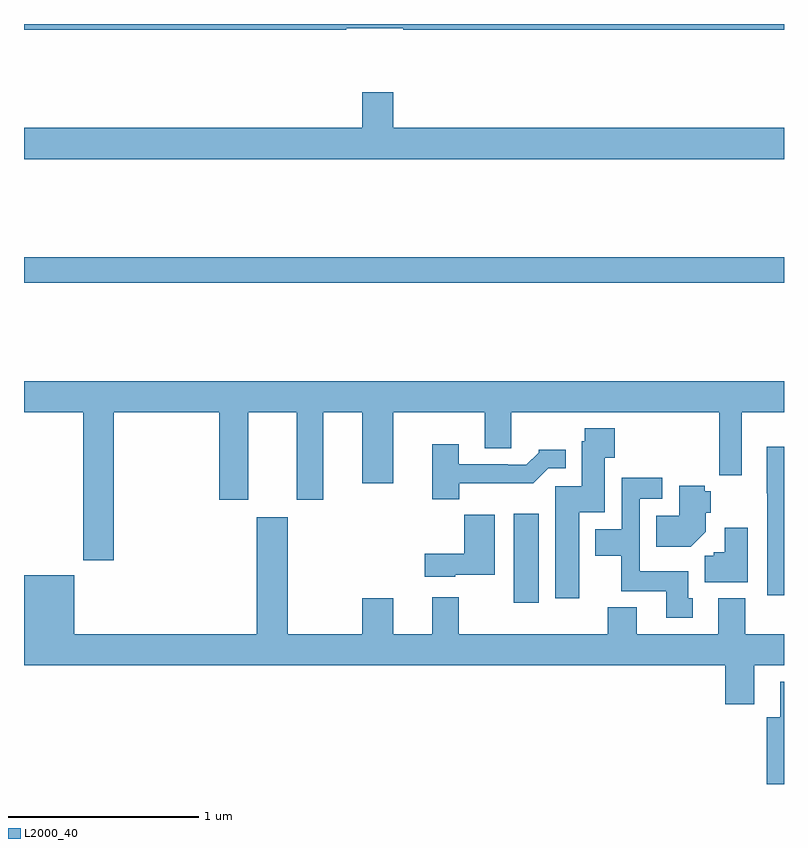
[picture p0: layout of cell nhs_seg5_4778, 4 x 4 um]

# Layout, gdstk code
import gdstk
lib = gdstk.Library(unit=1e-6, precision=1e-09)
def R(c, l, rs):  # rectangles x0, y0, x1, y1
    for r in rs: c.add(gdstk.rectangle(r[:2], r[2:], *l))
def P(c, l, *ps):  # polygons
    for p in ps: c.add(gdstk.Polygon(p, *l))
L2000_40 = (2000, 40)

nhs_seg5_4778 = lib.new_cell('nhs_seg5_4778')
R(nhs_seg5_4778, L2000_40, [(393.578,859.752,393.709,860.221), (391,861.436,395,861.572)])
P(nhs_seg5_4778, L2000_40, [(392.696,862.776),(392.996,862.776),(392.996,862.768),(395,862.768),(395,862.799),(391,862.799),(391,862.768),(392.696,862.768)],
  [(395,862.252),(392.944,862.252),(392.944,862.441),(392.78,862.441),(392.78,862.252),(391,862.252),(391,862.088),(395,862.088)],
  [(391.472,860.756),(392.027,860.756),(392.027,860.295),(392.179,860.295),(392.179,860.756),(392.435,860.756),(392.435,860.295),(392.575,860.295),(392.575,860.756),(392.78,860.756),(392.78,860.382),(392.944,860.382),(392.944,860.756),(393.425,860.756),(393.425,860.566),(393.565,860.566),(393.565,860.756),(394.66,860.756),(394.66,860.424),(394.777,860.424),(394.777,860.756),(395,860.756),(395,860.92),(391,860.92),(391,860.756),(391.312,860.756),(391.312,859.977),(391.472,859.977)],
  [(393.922,860.228),(394.057,860.228),(394.057,860.515),(394.109,860.515),(394.109,860.671),(393.952,860.671),(393.952,860.604),(393.935,860.604),(393.935,860.367),(393.797,860.367),(393.797,859.776),(393.922,859.776)],
  [(393.292,860.382),(393.681,860.382),(393.759,860.46),(393.85,860.46),(393.85,860.557),(393.708,860.557),(393.708,860.542),(393.644,860.478),(393.545,860.478),(393.545,860.481),(393.289,860.481),(393.289,860.587),(393.149,860.587),(393.149,860.297),(393.292,860.297)],
  [(395,860.575),(394.91,860.575),(394.91,860.33),(394.911,860.33),(394.911,859.793),(395,859.793)],
  [(394.519,859.776),(394.495,859.776),(394.495,859.918),(394.242,859.918),(394.242,860.301),(394.36,860.301),(394.36,860.41),(394.146,860.41),(394.146,860.14),(394.007,860.14),(394.007,860),(394.144,860),(394.144,859.814),(394.379,859.814),(394.379,859.674),(394.519,859.674)],
  [(394.588,860.126),(394.588,860.226),(394.614,860.226),(394.614,860.34),(394.584,860.34),(394.584,860.37),(394.448,860.37),(394.448,860.212),(394.327,860.212),(394.327,860.048),(394.51,860.048)],
  [(393.27,859.901),(393.478,859.901),(393.478,860.215),(393.316,860.215),(393.316,860.011),(393.108,860.011),(393.108,859.889),(393.27,859.889)],
  [(394.843,859.424),(395,859.424),(395,859.588),(394.795,859.588),(394.795,859.777),(394.655,859.777),(394.655,859.588),(394.225,859.588),(394.225,859.729),(394.073,859.729),(394.073,859.588),(393.289,859.588),(393.289,859.783),(393.149,859.783),(393.149,859.588),(392.944,859.588),(392.944,859.777),(392.78,859.777),(392.78,859.588),(392.389,859.588),(392.389,860.203),(392.225,860.203),(392.225,859.588),(391.264,859.588),(391.264,859.897),(391,859.897),(391,859.424),(394.691,859.424),(394.691,859.218),(394.843,859.218)],
  [(394.81,860.149),(394.688,860.149),(394.688,860.018),(394.629,860.018),(394.629,860),(394.583,860),(394.583,859.862),(394.81,859.862)],
  [(395,859.336),(394.979,859.336),(394.979,859.15),(394.91,859.15),(394.91,858.799),(395,858.799)])

lib.write_gds('nhs_seg5_4778.gds')
